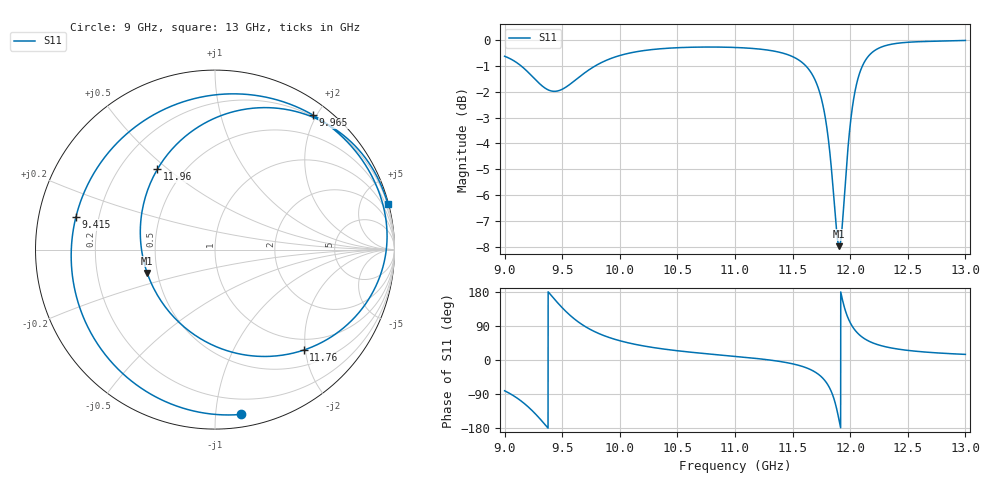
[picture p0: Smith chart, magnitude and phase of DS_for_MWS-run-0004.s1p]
! TOUCHSTONE file generated by CST DESIGN STUDIO
! Date and time: Tue Feb  4 17:57:26 2025
! Project name: C:\Work\MatlabApps\UnitCellOptimizationMatlab\CST\unitcell.cst
! Tree item: Tasks\Sweep1\SPara1\S-Parameters
! Header version: 2024
! Port assignment regex: !\s*Touchstone port\s*([0-9]+)\s*=\s*(CST MWS port|CST DES external port|CST DES block port)\s*(.+)\s* \(\"(.*)\"\)(\s*mode\s*([0-9]+))?.*
! Touchstone port assignment:
! Touchstone port 1 = CST DES external port 1 ("")
# GHz S MA R 50
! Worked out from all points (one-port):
!   4001 points, 9 GHz to 13 GHz, reference 50 ohm
!   lowest |S11| = -8.0 dB at 11.9 GHz (marker M1), VSWR 2.33, Z = 21.9 - j6.8 ohm
!   |S11| at or under -10 dB: nowhere
!   S11 on the Smith chart (normalised r, x): 9 GHz: 0.09, -1.16; 9.415 GHz: 0.12, +0.11; 9.965 GHz: 0.18, +1.96; 11.76 GHz: 0.78, -1.96; 11.96 GHz: 0.36, +0.46; 13 GHz: 0.08, +7.70
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9  0.9296 -81.2
9.112  0.9015 -101.2
9.204  0.866 -123.5
9.318  0.8175 -159.0
9.415  0.7959 166.7
9.5  0.8027 138.0
9.584  0.8261 113.8
9.678  0.8579 92.4
9.815  0.8978 70.2
9.965  0.9276 53.9
10  0.9327 50.8
10.215  0.9538 36.6
10.5  0.9656 24.4
11  0.9667 9.6
11.5  0.9281 -10.1
11.66  0.8648 -25.9
11.764  0.7465 -48.6
11.842  0.5477 -87.7
11.873  0.4501 -117.2
11.905  0.3996 -161.0
11.933  0.4437 158.6
11.963  0.5508 125.7
12  0.6851 98.6
12.084  0.8653 65.3
12.176  0.9392 47.7
12.305  0.9744 35.0
12.5  0.9892 25.4
13  0.9973 14.8
